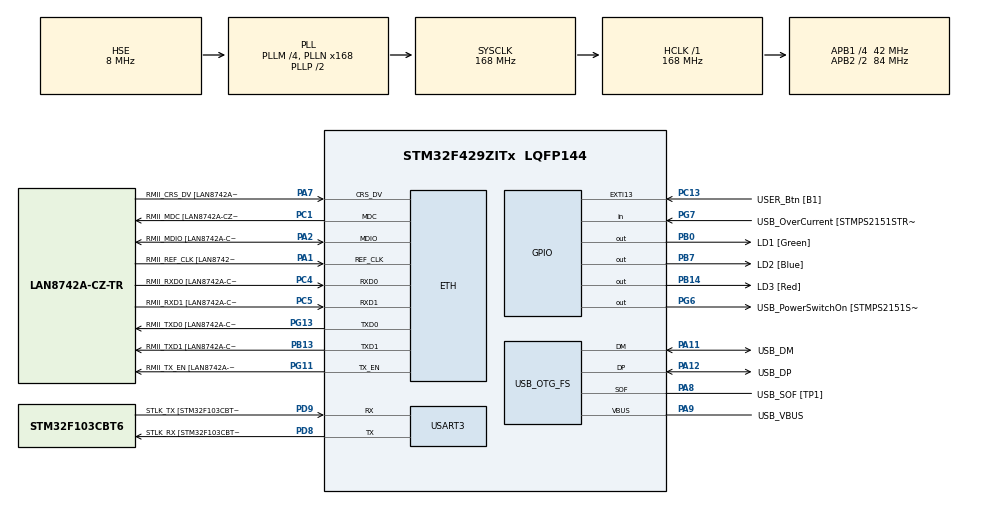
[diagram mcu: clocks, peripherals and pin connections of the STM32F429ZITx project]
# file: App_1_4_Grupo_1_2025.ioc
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ETH.MediaInterface=HAL_ETH_RMII_MODE
ETH.PHY_Name=LAN8742A_PHY_ADDRESS
ETH.PHY_Value=0
ETH.PhyAddress=0
Mcu.Family=STM32F4
Mcu.Name=STM32F429ZITx
Mcu.Package=LQFP144
NVIC.PriorityGroup=NVIC_PRIORITYGROUP_4
PA1.GPIO_Label=RMII_REF_CLK [LAN8742A-CZ-TR_REFCLK0]
PA1.Mode=RMII
PA1.Signal=ETH_REF_CLK
PA10.GPIO_Label=USB_ID
PA10.Signal=USB_OTG_FS_ID
PA11.GPIO_Label=USB_DM
PA11.Mode=Device_Only
PA11.Signal=USB_OTG_FS_DM
PA12.GPIO_Label=USB_DP
PA12.Mode=Device_Only
PA12.Signal=USB_OTG_FS_DP
PA13.GPIO_Label=TMS
PA13.Mode=Serial_Wire
PA13.Signal=SYS_JTMS-SWDIO
PA14.GPIO_Label=TCK
PA14.Mode=Serial_Wire
PA14.Signal=SYS_JTCK-SWCLK
PA2.GPIO_Label=RMII_MDIO [LAN8742A-CZ-TR_MDIO]
PA2.Mode=RMII
PA2.Signal=ETH_MDIO
PA7.GPIO_Label=RMII_CRS_DV [LAN8742A-CZ-TR_CRS_DV]
PA7.Mode=RMII
PA7.Signal=ETH_CRS_DV
PA8.GPIO_Label=USB_SOF [TP1]
PA8.Mode=Activate_SOF_FS
PA8.Signal=USB_OTG_FS_SOF
PA9.GPIO_Label=USB_VBUS
PA9.Mode=Activate_VBUS
PA9.Signal=USB_OTG_FS_VBUS
PB0.GPIO_Label=LD1 [Green]
PB0.Signal=GPIO_Output
PB13.GPIO_Label=RMII_TXD1 [LAN8742A-CZ-TR_TXD1]
PB13.Mode=RMII
PB13.Signal=ETH_TXD1
PB14.GPIO_Label=LD3 [Red]
PB14.Signal=GPIO_Output
PB7.GPIO_Label=LD2 [Blue]
PB7.Signal=GPIO_Output
PC1.GPIO_Label=RMII_MDC [LAN8742A-CZ-TR_MDC]
PC1.Mode=RMII
PC1.Signal=ETH_MDC
PC13.GPIO_Label=USER_Btn [B1]
PC13.Signal=GPXTI13
PC14/OSC32_IN.Mode=LSE-External-Oscillator
PC14/OSC32_IN.Signal=RCC_OSC32_IN
PC15/OSC32_OUT.Mode=LSE-External-Oscillator
PC15/OSC32_OUT.Signal=RCC_OSC32_OUT
PC4.GPIO_Label=RMII_RXD0 [LAN8742A-CZ-TR_RXD0]
PC4.Mode=RMII
PC4.Signal=ETH_RXD0
PC5.GPIO_Label=RMII_RXD1 [LAN8742A-CZ-TR_RXD1]
PC5.Mode=RMII
PC5.Signal=ETH_RXD1
PD8.GPIO_Label=STLK_RX [STM32F103CBT6_PA3]
PD8.Mode=Asynchronous
PD8.Signal=USART3_TX
PD9.GPIO_Label=STLK_TX [STM32F103CBT6_PA2]
PD9.Mode=Asynchronous
PD9.Signal=USART3_RX
PG11.GPIO_Label=RMII_TX_EN [LAN8742A-CZ-TR_TXEN]
PG11.Mode=RMII
PG11.Signal=ETH_TX_EN
PG13.GPIO_Label=RMII_TXD0 [LAN8742A-CZ-TR_TXD0]
PG13.Mode=RMII
PG13.Signal=ETH_TXD0
PG6.GPIO_Label=USB_PowerSwitchOn [STMPS2151STR_EN]
PG6.Signal=GPIO_Output
PG7.GPIO_Label=USB_OverCurrent [STMPS2151STR_FAULT]
PG7.Signal=GPIO_Input
PH0/OSC_IN.GPIO_Label=MCO [STM32F103CBT6_PA8]
PH0/OSC_IN.Mode=HSE-External-Clock-Source
PH0/OSC_IN.Signal=RCC_OSC_IN
PH1/OSC_OUT.Mode=HSE-External-Clock-Source
PH1/OSC_OUT.Signal=RCC_OSC_OUT
ProjectManager.HeapSize=0x200
ProjectManager.StackSize=0x400
ProjectManager.TargetToolchain=STM32CubeIDE
RCC.48MHZClocksFreq_Value=48000000
RCC.AHBFreq_Value=168000000
RCC.APB1CLKDivider=RCC_HCLK_DIV4
RCC.APB1Freq_Value=42000000
RCC.APB1TimFreq_Value=84000000
RCC.APB2CLKDivider=RCC_HCLK_DIV2
RCC.APB2Freq_Value=84000000
RCC.APB2TimCLKDivider=2
RCC.APB2TimFreq_Value=168000000
RCC.CortexFreq_Value=168000000
RCC.HCLKFreq_Value=168000000
RCC.HSE_VALUE=8000000
RCC.HSI_VALUE=16000000
RCC.PLLM=4
RCC.PLLMUL=RCC_PLL_MUL9
RCC.PLLN=168
RCC.PLLQ=7
RCC.PRESCALERUSB=RCC_USBCLKSOURCE_PLL_DIV1_5
RCC.SYSCLKFreq_VALUE=168000000
RCC.SYSCLKSource=RCC_SYSCLKSOURCE_PLLCLK
RCC.SYSCLKSourceVirtual=RCC_SYSCLKSOURCE_PLLCLK
RCC.USBFreq_Value=48000000
RCC.VCOOutputFreq_Value=336000000
USART3.VirtualMode=VM_ASYNC
USB_OTG_FS.VirtualMode=Device_Only
board=NUCLEO-F429ZI

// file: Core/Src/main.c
/* USER CODE BEGIN Header */
/**
  ******************************************************************************
  * @file           : main.c
  * @brief          : Main program body
  ******************************************************************************
  * @attention
  *
  * Copyright (c) 2025 STMicroelectronics.
  * All rights reserved.
  *
  * This software is licensed under terms that can be found in the LICENSE file
  * in the root directory of this software component.
  * If no LICENSE file comes with this software, it is provided AS-IS.
  *
  ******************************************************************************
  */
/* USER CODE END Header */
#include "main.h"
#include "string.h"

ETH_TxPacketConfig TxConfig;
ETH_DMADescTypeDef  DMARxDscrTab[ETH_RX_DESC_CNT]; /* Ethernet Rx DMA Descriptors */
ETH_DMADescTypeDef  DMATxDscrTab[ETH_TX_DESC_CNT]; /* Ethernet Tx DMA Descriptors */

ETH_HandleTypeDef heth;

UART_HandleTypeDef huart3;

PCD_HandleTypeDef hpcd_USB_OTG_FS;

void SystemClock_Config(void);
static void MX_GPIO_Init(void);
static void MX_ETH_Init(void);
static void MX_USART3_UART_Init(void);
static void MX_USB_OTG_FS_PCD_Init(void);

//******************************************************
//FUNCIONES DE SECUENCIA

void Secuencia1(void)

{int retardo1=100 ;
HAL_GPIO_TogglePin(GPIOB, GPIO_PIN_0);
HAL_GPIO_TogglePin(GPIOB, GPIO_PIN_7);
HAL_GPIO_TogglePin(GPIOB, GPIO_PIN_14);
HAL_Delay(retardo1);
HAL_GPIO_TogglePin(GPIOB, GPIO_PIN_0);
HAL_GPIO_TogglePin(GPIOB, GPIO_PIN_7);
HAL_GPIO_TogglePin(GPIOB, GPIO_PIN_14);
HAL_Delay(retardo1);

}

void Secuencia2(void)

{int retardo2=250 ;
HAL_GPIO_TogglePin(GPIOB, GPIO_PIN_0);
HAL_GPIO_TogglePin(GPIOB, GPIO_PIN_7);
HAL_GPIO_TogglePin(GPIOB, GPIO_PIN_14);
HAL_Delay(retardo2);
HAL_GPIO_TogglePin(GPIOB, GPIO_PIN_0);
HAL_GPIO_TogglePin(GPIOB, GPIO_PIN_7);
HAL_GPIO_TogglePin(GPIOB, GPIO_PIN_14);
HAL_Delay(retardo2);

}

void Secuencia3(void)
{  int retardo3=500 ;
HAL_GPIO_TogglePin(GPIOB, GPIO_PIN_0);
HAL_GPIO_TogglePin(GPIOB, GPIO_PIN_7);
HAL_GPIO_TogglePin(GPIOB, GPIO_PIN_14);
HAL_Delay(retardo3);
HAL_GPIO_TogglePin(GPIOB, GPIO_PIN_0);
HAL_GPIO_TogglePin(GPIOB, GPIO_PIN_7);
HAL_GPIO_TogglePin(GPIOB, GPIO_PIN_14);
HAL_Delay(retardo3);

}

void Secuencia4(void){

int retardo4=1000 ;
HAL_GPIO_TogglePin(GPIOB, GPIO_PIN_0);
HAL_GPIO_TogglePin(GPIOB, GPIO_PIN_7);
HAL_GPIO_TogglePin(GPIOB, GPIO_PIN_14);
HAL_Delay(retardo4);
HAL_GPIO_TogglePin(GPIOB, GPIO_PIN_0);
HAL_GPIO_TogglePin(GPIOB, GPIO_PIN_7);
HAL_GPIO_TogglePin(GPIOB, GPIO_PIN_14);
HAL_Delay(retardo4);

}

int main(void)
{
    int contador =1;
    uint8_t estado_siguiente_boton=0; // Pull-up en PC13
    uint8_t estado_actual_boton;

  /* MCU Configuration--------------------------------------------------------*/

  /* Reset of all peripherals, Initializes the Flash interface and the Systick. */
  HAL_Init();

  /* Configure the system clock */
  SystemClock_Config();

  /* Initialize all configured peripherals */
  MX_GPIO_Init();
  MX_ETH_Init();
  MX_USART3_UART_Init();
  MX_USB_OTG_FS_PCD_Init();

  /* Infinite loop */
  /* USER CODE BEGIN WHILE */
  while (1)
  {

	  do {
//SELECCION DE SECUENCIA
          switch (contador)
               {
      case 1:
          Secuencia1();
                     break;

      case 2:
           Secuencia2();
                     break;

      case 3:
    	  Secuencia3();
                     break;
      case 4:
    	  Secuencia4();
         break;

      default:
    	  Secuencia1();
        	  break;

      }

      // Lectura del botón
      estado_actual_boton= HAL_GPIO_ReadPin(GPIOC, GPIO_PIN_13);

      // Detectar flanco de bajada presionado)
      if ( estado_actual_boton==1 && estado_siguiente_boton==0)
      {
          contador++;
          if (contador > 5) contador = 1;
         HAL_Delay(20);//antirebote
          // Sale del do-while y cambia la secuencia
      }

      estado_siguiente_boton= estado_actual_boton;

  } while (estado_siguiente_boton !=0);

    /* USER CODE END WHILE */

  }
}

void SystemClock_Config(void)
{
  RCC_OscInitTypeDef RCC_OscInitStruct = {0};
  RCC_ClkInitTypeDef RCC_ClkInitStruct = {0};

  /** Configure the main internal regulator output voltage
  */
  __HAL_RCC_PWR_CLK_ENABLE();
  __HAL_PWR_VOLTAGESCALING_CONFIG(PWR_REGULATOR_VOLTAGE_SCALE1);

  /** Initializes the RCC Oscillators according to the specified parameters
  * in the RCC_OscInitTypeDef structure.
  */
  RCC_OscInitStruct.OscillatorType = RCC_OSCILLATORTYPE_HSE;
  RCC_OscInitStruct.HSEState = RCC_HSE_BYPASS;
  RCC_OscInitStruct.PLL.PLLState = RCC_PLL_ON;
  RCC_OscInitStruct.PLL.PLLSource = RCC_PLLSOURCE_HSE;
  RCC_OscInitStruct.PLL.PLLM = 4;
  RCC_OscInitStruct.PLL.PLLN = 168;
  RCC_OscInitStruct.PLL.PLLP = RCC_PLLP_DIV2;
  RCC_OscInitStruct.PLL.PLLQ = 7;
  if (HAL_RCC_OscConfig(&RCC_OscInitStruct) != HAL_OK)
  {
    Error_Handler();
  }

  /** Initializes the CPU, AHB and APB buses clocks
  */
  RCC_ClkInitStruct.ClockType = RCC_CLOCKTYPE_HCLK|RCC_CLOCKTYPE_SYSCLK
                              |RCC_CLOCKTYPE_PCLK1|RCC_CLOCKTYPE_PCLK2;
  RCC_ClkInitStruct.SYSCLKSource = RCC_SYSCLKSOURCE_PLLCLK;
  RCC_ClkInitStruct.AHBCLKDivider = RCC_SYSCLK_DIV1;
  RCC_ClkInitStruct.APB1CLKDivider = RCC_HCLK_DIV4;
  RCC_ClkInitStruct.APB2CLKDivider = RCC_HCLK_DIV2;

  if (HAL_RCC_ClockConfig(&RCC_ClkInitStruct, FLASH_LATENCY_5) != HAL_OK)
  {
    Error_Handler();
  }
}

static void MX_ETH_Init(void)
{

   static uint8_t MACAddr[6];

  heth.Instance = ETH;
  MACAddr[0] = 0x00;
  MACAddr[1] = 0x80;
  MACAddr[2] = 0xE1;
  MACAddr[3] = 0x00;
  MACAddr[4] = 0x00;
  MACAddr[5] = 0x00;
  heth.Init.MACAddr = &MACAddr[0];
  heth.Init.MediaInterface = HAL_ETH_RMII_MODE;
  heth.Init.TxDesc = DMATxDscrTab;
  heth.Init.RxDesc = DMARxDscrTab;
  heth.Init.RxBuffLen = 1524;

  if (HAL_ETH_Init(&heth) != HAL_OK)
  {
    Error_Handler();
  }

  memset(&TxConfig, 0 , sizeof(ETH_TxPacketConfig));
  TxConfig.Attributes = ETH_TX_PACKETS_FEATURES_CSUM | ETH_TX_PACKETS_FEATURES_CRCPAD;
  TxConfig.ChecksumCtrl = ETH_CHECKSUM_IPHDR_PAYLOAD_INSERT_PHDR_CALC;
  TxConfig.CRCPadCtrl = ETH_CRC_PAD_INSERT;

}

static void MX_USART3_UART_Init(void)
{

  huart3.Instance = USART3;
  huart3.Init.BaudRate = 115200;
  huart3.Init.WordLength = UART_WORDLENGTH_8B;
  huart3.Init.StopBits = UART_STOPBITS_1;
  huart3.Init.Parity = UART_PARITY_NONE;
  huart3.Init.Mode = UART_MODE_TX_RX;
  huart3.Init.HwFlowCtl = UART_HWCONTROL_NONE;
  huart3.Init.OverSampling = UART_OVERSAMPLING_16;
  if (HAL_UART_Init(&huart3) != HAL_OK)
  {
    Error_Handler();
  }

}

static void MX_USB_OTG_FS_PCD_Init(void)
{

  hpcd_USB_OTG_FS.Instance = USB_OTG_FS;
  hpcd_USB_OTG_FS.Init.dev_endpoints = 4;
  hpcd_USB_OTG_FS.Init.speed = PCD_SPEED_FULL;
  hpcd_USB_OTG_FS.Init.dma_enable = DISABLE;
  hpcd_USB_OTG_FS.Init.phy_itface = PCD_PHY_EMBEDDED;
  hpcd_USB_OTG_FS.Init.Sof_enable = ENABLE;
  hpcd_USB_OTG_FS.Init.low_power_enable = DISABLE;
  hpcd_USB_OTG_FS.Init.lpm_enable = DISABLE;
  hpcd_USB_OTG_FS.Init.vbus_sensing_enable = ENABLE;
  hpcd_USB_OTG_FS.Init.use_dedicated_ep1 = DISABLE;
  if (HAL_PCD_Init(&hpcd_USB_OTG_FS) != HAL_OK)
  {
    Error_Handler();
  }

}

static void MX_GPIO_Init(void)
{
  GPIO_InitTypeDef GPIO_InitStruct = {0};

  /* GPIO Ports Clock Enable */
  __HAL_RCC_GPIOC_CLK_ENABLE();
  __HAL_RCC_GPIOH_CLK_ENABLE();
  __HAL_RCC_GPIOA_CLK_ENABLE();
  __HAL_RCC_GPIOB_CLK_ENABLE();
  __HAL_RCC_GPIOD_CLK_ENABLE();
  __HAL_RCC_GPIOG_CLK_ENABLE();

  /*Configure GPIO pin Output Level */
  HAL_GPIO_WritePin(GPIOB, LD1_Pin|LD3_Pin|LD2_Pin, GPIO_PIN_RESET);

  /*Configure GPIO pin Output Level */
  HAL_GPIO_WritePin(USB_PowerSwitchOn_GPIO_Port, USB_PowerSwitchOn_Pin, GPIO_PIN_RESET);

  /*Configure GPIO pin : USER_Btn_Pin */
  GPIO_InitStruct.Pin = USER_Btn_Pin;
  GPIO_InitStruct.Mode = GPIO_MODE_IT_RISING;
  GPIO_InitStruct.Pull = GPIO_NOPULL;
  HAL_GPIO_Init(USER_Btn_GPIO_Port, &GPIO_InitStruct);

  /*Configure GPIO pins : LD1_Pin LD3_Pin LD2_Pin */
  GPIO_InitStruct.Pin = LD1_Pin|LD3_Pin|LD2_Pin;
  GPIO_InitStruct.Mode = GPIO_MODE_OUTPUT_PP;
  GPIO_InitStruct.Pull = GPIO_NOPULL;
  GPIO_InitStruct.Speed = GPIO_SPEED_FREQ_LOW;
  HAL_GPIO_Init(GPIOB, &GPIO_InitStruct);

  /*Configure GPIO pin : USB_PowerSwitchOn_Pin */
  GPIO_InitStruct.Pin = USB_PowerSwitchOn_Pin;
  GPIO_InitStruct.Mode = GPIO_MODE_OUTPUT_PP;
  GPIO_InitStruct.Pull = GPIO_NOPULL;
  GPIO_InitStruct.Speed = GPIO_SPEED_FREQ_LOW;
  HAL_GPIO_Init(USB_PowerSwitchOn_GPIO_Port, &GPIO_InitStruct);

  /*Configure GPIO pin : USB_OverCurrent_Pin */
  GPIO_InitStruct.Pin = USB_OverCurrent_Pin;
  GPIO_InitStruct.Mode = GPIO_MODE_INPUT;
  GPIO_InitStruct.Pull = GPIO_NOPULL;
  HAL_GPIO_Init(USB_OverCurrent_GPIO_Port, &GPIO_InitStruct);

}

void Error_Handler(void)
{
  __disable_irq();
  while (1)
  {
  }
}
